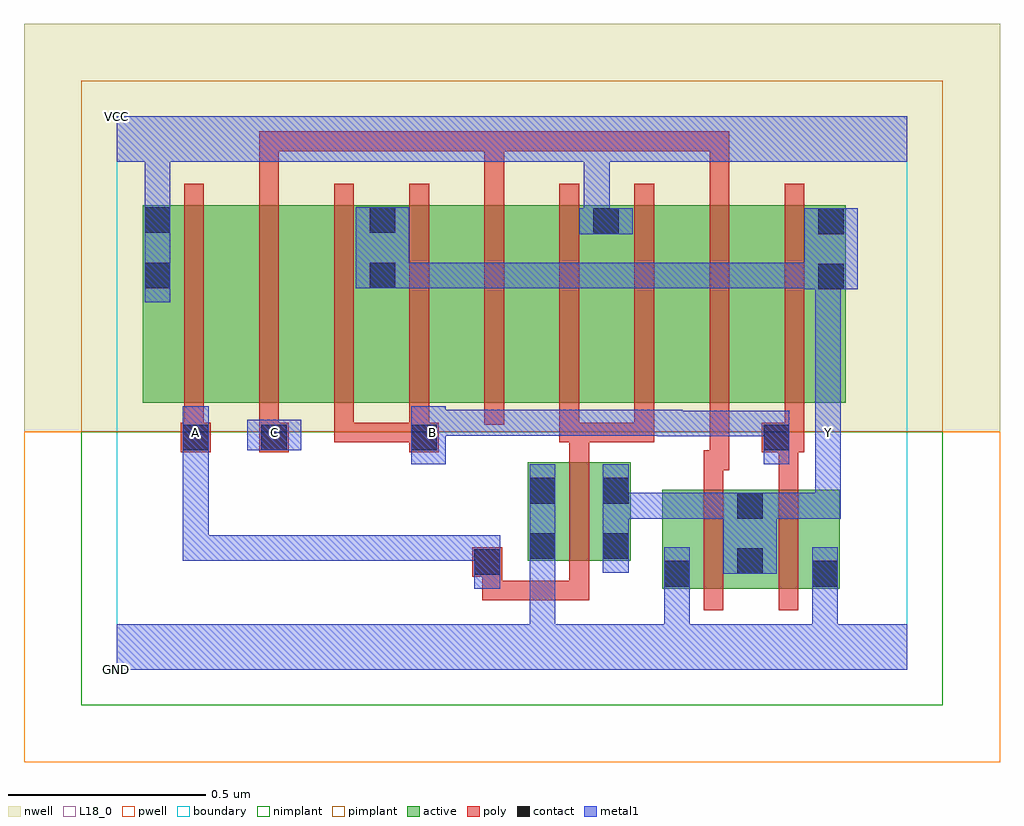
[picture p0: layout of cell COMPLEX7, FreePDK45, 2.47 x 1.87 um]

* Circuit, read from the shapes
.subckt COMPLEX7 A B C GND VCC Y
M1 Y A GND VSUBS nfet w=0.25u l=0.05u
M2 Y C GND VSUBS nfet w=0.25u l=0.05u
M3 GND B Y VSUBS nfet w=0.25u l=0.05u
M4 n1 A VCC n2 pfet w=0.5u l=0.05u
M5 n3 C n1 n2 pfet w=0.5u l=0.05u
M6 Y B n3 n2 pfet w=0.5u l=0.05u
M7 n4 B Y n2 pfet w=0.5u l=0.05u
M8 n5 C n4 n2 pfet w=0.5u l=0.05u
M9 VCC A n5 n2 pfet w=0.5u l=0.05u
M10 n6 A VCC n2 pfet w=0.5u l=0.05u
M11 n7 C n6 n2 pfet w=0.5u l=0.05u
M12 Y B n7 n2 pfet w=0.5u l=0.05u
.ends

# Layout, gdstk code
import gdstk
lib = gdstk.Library(unit=1e-6, precision=1e-09)
def R(c, l, rs):  # rectangles x0, y0, x1, y1
    for r in rs: c.add(gdstk.rectangle(r[:2], r[2:], *l))
def A(c, l, x, y, w, h, nx, ny, dx, dy):  # array of equal rectangles
    R(c, l, [(x+i*dx, y+j*dy, x+i*dx+w, y+j*dy+h) for i in range(nx) for j in range(ny)])
active = (1, 0)
pwell = (2, 0)
nwell = (3, 0)
nimplant = (4, 0)
pimplant = (5, 0)
poly = (9, 0)
contact = (10, 0)
metal1 = (11, 0)
L18_0 = (18, 0)
boundary = (235, 0)

complex7 = lib.new_cell('COMPLEX7')
A(complex7, active, 0.29, 0.675, 0.19, 0.5, 3, 1, 0.57, 0)
R(complex7, active, [(1.38,0.205,1.455,0.455), (1.38,0.205,1.64,0.455), (1.565,0.205,1.83,0.455), (1.565,0.205,1.64,0.452), (1.755,0.205,1.83,0.455), (1.04,0.275,1.115,0.525), (1.04,0.275,1.3,0.525), (1.225,0.275,1.3,0.525), (0.065,0.675,0.14,1.175), (0.065,0.675,0.29,1.175), (0.48,0.675,0.71,1.175), (0.635,0.675,0.71,1.175), (0.635,0.675,0.86,1.175), (1.05,0.675,1.275,1.175), (1.2,0.675,1.275,1.175), (1.2,0.675,1.43,1.175), (1.62,0.675,1.845,1.175), (1.77,0.675,1.845,1.175)])
R(complex7, pwell, [(-0.235,-0.235,2.235,0.602)])
R(complex7, nwell, [(-0.235,0.602,2.235,1.635)])
R(complex7, nimplant, [(-0.09,-0.09,2.09,0.602)])
R(complex7, pimplant, [(-0.09,0.602,2.09,1.49)])
A(complex7, poly, 0.17, 0.575, 0.05, 0.095, 4, 1, 0.19, 0)
A(complex7, poly, 0.17, 0.62, 0.05, 0.61, 9, 1, 0.19, 0)
A(complex7, poly, 0.36, 1.18, 0.05, 0.182, 3, 1, 0.57, 0)
R(complex7, poly, [(1.485,0.15,1.535,0.51), (1.675,0.15,1.725,0.51), (0.925,0.175,0.975,0.225), (0.925,0.175,1.195,0.225), (0.925,0.175,0.975,0.285), (1.145,0.175,1.195,0.27), (1.145,0.175,1.195,0.225), (1.145,0.175,1.195,0.225), (1.145,0.175,1.195,0.225), (1.145,0.22,1.195,0.58), (0.9,0.235,0.975,0.31), (1.485,0.46,1.535,0.555), (1.675,0.46,1.725,0.6), (1.485,0.505,1.55,0.555), (1.5,0.505,1.55,0.67), (1.145,0.53,1.195,0.625), (0.162,0.55,0.237,0.625), (0.36,0.55,0.435,0.625), (0.74,0.55,0.815,0.625), (1.632,0.55,1.74,0.625), (0.55,0.575,0.6,0.625), (0.55,0.575,0.6,0.625), (0.55,0.575,0.6,0.625), (0.55,0.575,0.79,0.625), (1.12,0.575,1.17,0.67), (1.12,0.575,1.195,0.625), (1.145,0.575,1.36,0.625), (1.31,0.575,1.36,0.67), (1.31,0.575,1.36,0.625), (1.31,0.575,1.36,0.625), (1.31,0.575,1.36,0.625), (1.69,0.575,1.74,0.67), (0.36,1.312,0.41,1.362), (0.36,1.312,0.41,1.362), (0.36,1.312,0.41,1.362), (0.36,1.312,0.657,1.362), (0.607,1.312,0.657,1.362), (0.607,1.312,0.657,1.362), (0.607,1.312,0.657,1.362), (0.607,1.312,0.817,1.362), (0.767,1.312,0.817,1.362), (0.767,1.312,0.98,1.362), (0.93,1.312,0.98,1.362), (0.93,1.312,0.98,1.362), (0.93,1.312,0.98,1.362), (0.93,1.312,1.227,1.362), (1.177,1.312,1.227,1.362), (1.177,1.312,1.227,1.362), (1.177,1.312,1.227,1.362), (1.177,1.312,1.36,1.362), (1.31,1.312,1.36,1.362), (1.31,1.312,1.36,1.362), (1.31,1.312,1.36,1.362), (1.31,1.312,1.55,1.362), (1.5,1.312,1.55,1.362), (1.5,1.312,1.55,1.362), (1.5,1.312,1.55,1.362)])
R(complex7, contact, [(1.385,0.21,1.45,0.275), (1.76,0.21,1.825,0.275), (0.905,0.24,0.97,0.305), (1.57,0.242,1.635,0.307), (1.045,0.28,1.11,0.345), (1.23,0.28,1.295,0.345), (1.57,0.382,1.635,0.447), (1.045,0.42,1.11,0.485), (1.23,0.42,1.295,0.485), (0.167,0.555,0.232,0.62), (0.365,0.555,0.43,0.62), (0.745,0.555,0.81,0.62), (1.637,0.555,1.702,0.62), (1.775,0.962,1.84,1.027), (0.07,0.965,0.135,1.03), (0.64,0.965,0.705,1.03), (1.205,1.102,1.27,1.167), (1.775,1.102,1.84,1.167), (0.07,1.105,0.135,1.17), (0.64,1.105,0.705,1.17)])
R(complex7, metal1, [(0,0,2,0.115), (1.045,0.05,1.11,0.115), (1.045,0.05,1.11,0.115), (1.045,0.05,1.11,0.115), (1.045,0.05,1.11,0.115), (1.045,0.05,1.11,0.31), (1.385,0.05,1.45,0.115), (1.385,0.05,1.45,0.115), (1.385,0.05,1.45,0.115), (1.385,0.05,1.45,0.115), (1.385,0.05,1.45,0.24), (1.76,0.05,1.825,0.24), (1.385,0.175,1.45,0.31), (1.76,0.175,1.825,0.31), (1.76,0.175,1.825,0.24), (1.76,0.175,1.825,0.24), (1.76,0.175,1.825,0.24), (1.76,0.175,1.825,0.24), (0.905,0.205,0.97,0.34), (1.535,0.242,1.67,0.447), (1.045,0.245,1.11,0.52), (1.23,0.245,1.295,0.52), (0.167,0.275,0.232,0.34), (0.167,0.275,0.37,0.34), (0.167,0.275,0.232,0.585), (0.305,0.275,0.37,0.34), (0.305,0.275,0.37,0.34), (0.305,0.275,0.37,0.34), (0.305,0.275,0.602,0.34), (0.537,0.275,0.602,0.34), (0.537,0.275,0.74,0.34), (0.675,0.275,0.74,0.34), (0.675,0.275,0.74,0.34), (0.675,0.275,0.74,0.34), (0.675,0.275,0.877,0.34), (0.812,0.275,0.877,0.34), (0.812,0.275,0.877,0.34), (0.812,0.275,0.877,0.34), (0.812,0.275,0.97,0.34), (1.23,0.382,1.295,0.447), (1.23,0.382,1.295,0.447), (1.23,0.382,1.432,0.447), (1.367,0.382,1.432,0.447), (1.367,0.382,1.432,0.447), (1.367,0.382,1.432,0.447), (1.367,0.382,1.6,0.447), (1.605,0.382,1.832,0.447), (1.767,0.382,1.832,0.597), (1.767,0.382,1.832,0.447), (1.767,0.382,1.832,0.447), (1.767,0.382,1.832,0.447), (0.167,0.52,0.232,0.585), (0.167,0.52,0.232,0.585), (0.167,0.52,0.232,0.667), (0.745,0.52,0.832,0.667), (1.637,0.52,1.702,0.655), (1.767,0.532,1.832,0.667), (0.33,0.555,0.467,0.632), (1.367,0.59,1.432,0.655), (1.367,0.59,1.432,0.655), (1.367,0.59,1.667,0.655), (1.367,0.59,1.432,0.657), (1.602,0.59,1.667,0.655), (1.602,0.59,1.702,0.655), (0.767,0.592,0.877,0.657), (0.812,0.592,0.877,0.657), (0.812,0.592,1.015,0.657), (0.95,0.592,1.015,0.657), (0.95,0.592,1.015,0.657), (0.95,0.592,1.015,0.657), (0.95,0.592,1.152,0.657), (1.087,0.592,1.152,0.657), (1.087,0.592,1.152,0.657), (1.087,0.592,1.152,0.657), (1.087,0.592,1.29,0.657), (1.225,0.592,1.29,0.657), (1.225,0.592,1.432,0.657), (1.767,0.602,1.832,1.027), (0.07,0.93,0.135,1.205), (1.74,0.962,1.875,1.167), (0.605,0.965,0.74,1.17), (0.675,0.965,0.74,1.03), (0.675,0.965,0.74,1.03), (0.675,0.965,0.877,1.03), (0.812,0.965,0.877,1.03), (0.812,0.965,1.015,1.03), (0.95,0.965,1.015,1.03), (0.95,0.965,1.015,1.03), (0.95,0.965,1.015,1.03), (0.95,0.965,1.152,1.03), (1.087,0.965,1.152,1.03), (1.087,0.965,1.29,1.03), (1.225,0.965,1.29,1.03), (1.225,0.965,1.29,1.03), (1.225,0.965,1.29,1.03), (1.225,0.965,1.462,1.03), (1.397,0.965,1.462,1.03), (1.397,0.965,1.462,1.03), (1.397,0.965,1.462,1.03), (1.397,0.965,1.6,1.03), (1.535,0.965,1.805,1.03), (1.535,0.965,1.6,1.03), (1.535,0.965,1.6,1.03), (1.535,0.965,1.6,1.03), (1.17,1.102,1.305,1.167), (1.182,1.102,1.247,1.167), (1.182,1.102,1.247,1.167), (1.182,1.102,1.247,1.35), (0.07,1.14,0.135,1.35), (0,1.285,2,1.4), (0.07,1.285,0.135,1.35), (0.07,1.285,0.135,1.35)])
R(complex7, L18_0, [(0,0,2,0.115), (1.045,0.05,1.11,0.115), (1.045,0.05,1.11,0.115), (1.045,0.05,1.11,0.115), (1.045,0.05,1.11,0.115), (1.045,0.05,1.11,0.31), (1.385,0.05,1.45,0.115), (1.385,0.05,1.45,0.115), (1.385,0.05,1.45,0.115), (1.385,0.05,1.45,0.115), (1.385,0.05,1.45,0.24), (1.76,0.05,1.825,0.24), (1.385,0.175,1.45,0.31), (1.76,0.175,1.825,0.24), (1.76,0.175,1.825,0.24), (1.76,0.175,1.825,0.24), (1.76,0.175,1.825,0.24), (1.76,0.175,1.825,0.31), (0.905,0.205,0.97,0.34), (1.535,0.242,1.67,0.447), (1.045,0.245,1.11,0.52), (1.23,0.245,1.295,0.52), (0.167,0.275,0.232,0.34), (0.167,0.275,0.232,0.585), (0.167,0.275,0.37,0.34), (0.305,0.275,0.37,0.34), (0.305,0.275,0.37,0.34), (0.305,0.275,0.37,0.34), (0.305,0.275,0.602,0.34), (0.537,0.275,0.602,0.34), (0.537,0.275,0.74,0.34), (0.675,0.275,0.74,0.34), (0.675,0.275,0.74,0.34), (0.675,0.275,0.74,0.34), (0.675,0.275,0.877,0.34), (0.812,0.275,0.877,0.34), (0.812,0.275,0.877,0.34), (0.812,0.275,0.877,0.34), (0.812,0.275,0.97,0.34), (1.23,0.382,1.295,0.447), (1.23,0.382,1.295,0.447), (1.23,0.382,1.432,0.447), (1.367,0.382,1.432,0.447), (1.367,0.382,1.432,0.447), (1.367,0.382,1.432,0.447), (1.367,0.382,1.6,0.447), (1.605,0.382,1.832,0.447), (1.767,0.382,1.832,0.447), (1.767,0.382,1.832,0.447), (1.767,0.382,1.832,0.447), (1.767,0.382,1.832,0.597), (0.167,0.52,0.232,0.585), (0.167,0.52,0.232,0.585), (0.167,0.52,0.232,0.667), (0.745,0.52,0.832,0.667), (1.637,0.52,1.702,0.655), (1.767,0.532,1.832,0.667), (0.33,0.555,0.467,0.632), (0.167,0.567,0.232,0.632), (0.367,0.567,0.432,0.632), (0.767,0.567,0.832,0.632), (1.767,0.567,1.832,0.632), (1.367,0.59,1.432,0.655), (1.367,0.59,1.432,0.655), (1.367,0.59,1.432,0.657), (1.367,0.59,1.667,0.655), (1.602,0.59,1.667,0.655), (1.602,0.59,1.702,0.655), (0.767,0.592,0.877,0.657), (0.812,0.592,0.877,0.657), (0.812,0.592,1.015,0.657), (0.95,0.592,1.015,0.657), (0.95,0.592,1.015,0.657), (0.95,0.592,1.015,0.657), (0.95,0.592,1.152,0.657), (1.087,0.592,1.152,0.657), (1.087,0.592,1.152,0.657), (1.087,0.592,1.152,0.657), (1.087,0.592,1.29,0.657), (1.225,0.592,1.29,0.657), (1.225,0.592,1.432,0.657), (1.767,0.602,1.832,1.027), (0.07,0.93,0.135,1.205), (1.74,0.962,1.875,1.167), (0.605,0.965,0.74,1.17), (0.675,0.965,0.74,1.03), (0.675,0.965,0.74,1.03), (0.675,0.965,0.877,1.03), (0.812,0.965,0.877,1.03), (0.812,0.965,1.015,1.03), (0.95,0.965,1.015,1.03), (0.95,0.965,1.015,1.03), (0.95,0.965,1.015,1.03), (0.95,0.965,1.152,1.03), (1.087,0.965,1.152,1.03), (1.087,0.965,1.29,1.03), (1.225,0.965,1.29,1.03), (1.225,0.965,1.29,1.03), (1.225,0.965,1.29,1.03), (1.225,0.965,1.462,1.03), (1.397,0.965,1.462,1.03), (1.397,0.965,1.462,1.03), (1.397,0.965,1.462,1.03), (1.397,0.965,1.6,1.03), (1.535,0.965,1.6,1.03), (1.535,0.965,1.6,1.03), (1.535,0.965,1.6,1.03), (1.535,0.965,1.805,1.03), (1.17,1.102,1.305,1.167), (1.182,1.102,1.247,1.167), (1.182,1.102,1.247,1.167), (1.182,1.102,1.247,1.35), (0.07,1.14,0.135,1.35), (0,1.285,2,1.4), (0.07,1.285,0.135,1.35), (0.07,1.285,0.135,1.35)])
R(complex7, boundary, [(0,0,2,1.4)])
complex7.add(gdstk.Label('A', (0.2,0.6), layer=11, texttype=0))
complex7.add(gdstk.Label('B', (0.8,0.6), layer=11, texttype=0))
complex7.add(gdstk.Label('C', (0.4,0.6), layer=11, texttype=0))
complex7.add(gdstk.Label('Y', (1.8,0.6), layer=11, texttype=0))
complex7.add(gdstk.Label('VCC', (0,1.4), layer=11, texttype=0))
complex7.add(gdstk.Label('GND', (0,0), layer=11, texttype=0))

lib.write_gds('COMPLEX7.gds')
